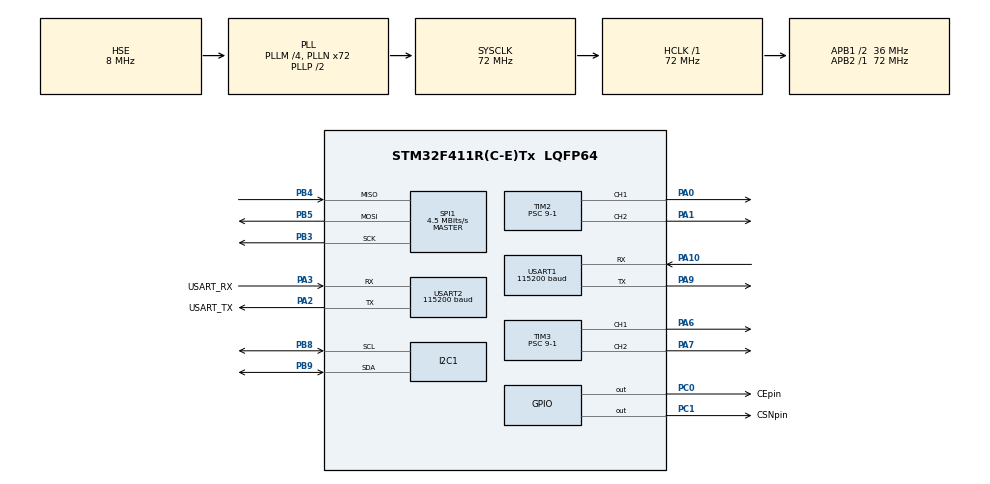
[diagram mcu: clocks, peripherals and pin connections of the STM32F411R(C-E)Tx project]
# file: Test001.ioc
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Dma.Request0=USART2_RX
Dma.Request1=USART2_TX
Dma.Request2=USART1_TX
Dma.USART1_TX.2.Direction=DMA_MEMORY_TO_PERIPH
Dma.USART1_TX.2.FIFOMode=DMA_FIFOMODE_DISABLE
Dma.USART1_TX.2.Instance=DMA2_Stream7
Dma.USART1_TX.2.MemDataAlignment=DMA_MDATAALIGN_BYTE
Dma.USART1_TX.2.MemInc=DMA_MINC_ENABLE
Dma.USART1_TX.2.Mode=DMA_NORMAL
Dma.USART1_TX.2.PeriphDataAlignment=DMA_PDATAALIGN_BYTE
Dma.USART1_TX.2.PeriphInc=DMA_PINC_DISABLE
Dma.USART1_TX.2.Priority=DMA_PRIORITY_LOW
Dma.USART2_RX.0.Direction=DMA_PERIPH_TO_MEMORY
Dma.USART2_RX.0.FIFOMode=DMA_FIFOMODE_DISABLE
Dma.USART2_RX.0.Instance=DMA1_Stream5
Dma.USART2_RX.0.MemDataAlignment=DMA_MDATAALIGN_BYTE
Dma.USART2_RX.0.MemInc=DMA_MINC_ENABLE
Dma.USART2_RX.0.Mode=DMA_CIRCULAR
Dma.USART2_RX.0.PeriphDataAlignment=DMA_PDATAALIGN_BYTE
Dma.USART2_RX.0.PeriphInc=DMA_PINC_DISABLE
Dma.USART2_RX.0.Priority=DMA_PRIORITY_LOW
Dma.USART2_TX.1.Direction=DMA_MEMORY_TO_PERIPH
Dma.USART2_TX.1.FIFOMode=DMA_FIFOMODE_DISABLE
Dma.USART2_TX.1.Instance=DMA1_Stream6
Dma.USART2_TX.1.MemDataAlignment=DMA_MDATAALIGN_BYTE
Dma.USART2_TX.1.MemInc=DMA_MINC_ENABLE
Dma.USART2_TX.1.Mode=DMA_NORMAL
Dma.USART2_TX.1.PeriphDataAlignment=DMA_PDATAALIGN_BYTE
Dma.USART2_TX.1.PeriphInc=DMA_PINC_DISABLE
Dma.USART2_TX.1.Priority=DMA_PRIORITY_LOW
I2C1.I2C_Mode=I2C_Fast
Mcu.Family=STM32F4
Mcu.Name=STM32F411R(C-E)Tx
Mcu.Package=LQFP64
NVIC.DMA1_Stream5_IRQn=true\:0\:0\:false\:false\:true\:false\:true
NVIC.DMA1_Stream6_IRQn=true\:0\:0\:false\:false\:true\:false\:true
NVIC.DMA2_Stream7_IRQn=true\:0\:0\:false\:false\:true\:false\:true
NVIC.I2C1_ER_IRQn=true\:0\:0\:false\:false\:true\:true\:true
NVIC.I2C1_EV_IRQn=true\:0\:0\:false\:false\:true\:true\:true
NVIC.PriorityGroup=NVIC_PRIORITYGROUP_0
NVIC.TIM2_IRQn=true\:0\:0\:false\:false\:true\:true\:true
NVIC.TIM3_IRQn=true\:0\:0\:false\:false\:true\:true\:true
NVIC.USART1_IRQn=true\:0\:0\:false\:false\:true\:true\:true
NVIC.USART2_IRQn=true\:0\:0\:false\:false\:true\:true\:true
PA0-WKUP.Signal=S_TIM2_CH1_ETR
PA1.Signal=S_TIM2_CH2
PA10.Mode=Asynchronous
PA10.Signal=USART1_RX
PA13.GPIO_Label=TMS
PA13.Mode=Serial_Wire
PA13.Signal=SYS_JTMS-SWDIO
PA14.GPIO_Label=TCK
PA14.Mode=Serial_Wire
PA14.Signal=SYS_JTCK-SWCLK
PA2.GPIO_Label=USART_TX
PA2.Mode=Asynchronous
PA2.Signal=USART2_TX
PA3.GPIO_Label=USART_RX
PA3.Mode=Asynchronous
PA3.Signal=USART2_RX
PA6.Signal=S_TIM3_CH1
PA7.Signal=S_TIM3_CH2
PA9.Mode=Asynchronous
PA9.Signal=USART1_TX
PB3.Mode=Full_Duplex_Master
PB3.Signal=SPI1_SCK
PB4.Mode=Full_Duplex_Master
PB4.Signal=SPI1_MISO
PB5.Mode=Full_Duplex_Master
PB5.Signal=SPI1_MOSI
PB8.Mode=I2C
PB8.Signal=I2C1_SCL
PB9.Mode=I2C
PB9.Signal=I2C1_SDA
PC0.GPIO_Label=CEpin
PC0.Signal=GPIO_Output
PC1.GPIO_Label=CSNpin
PC1.Signal=GPIO_Output
PH0\ -\ OSC_IN.Mode=HSE-External-Oscillator
PH0\ -\ OSC_IN.Signal=RCC_OSC_IN
PH1\ -\ OSC_OUT.Mode=HSE-External-Oscillator
PH1\ -\ OSC_OUT.Signal=RCC_OSC_OUT
ProjectManager.HeapSize=0x2000
ProjectManager.StackSize=0x4000
ProjectManager.TargetToolchain=EWARM V8.32
RCC.48MHZClocksFreq_Value=36000000
RCC.AHBFreq_Value=72000000
RCC.APB1CLKDivider=RCC_HCLK_DIV2
RCC.APB1Freq_Value=36000000
RCC.APB1TimFreq_Value=72000000
RCC.APB2Freq_Value=72000000
RCC.APB2TimFreq_Value=72000000
RCC.CortexFreq_Value=72000000
RCC.FLatency-AdvancedSettings=FLASH_LATENCY_2
RCC.HCLKFreq_Value=72000000
RCC.HSE_VALUE=8000000
RCC.HSI_VALUE=16000000
RCC.LSE_VALUE=32768
RCC.PLLM=4
RCC.PLLN=72
RCC.PLLSourceVirtual=RCC_PLLSOURCE_HSE
RCC.SYSCLKFreq_VALUE=72000000
RCC.SYSCLKSource=RCC_SYSCLKSOURCE_PLLCLK
RCC.VCOOutputFreq_Value=144000000
SH.S_TIM2_CH1_ETR.0=TIM2_CH1,PWM Generation1 CH1
SH.S_TIM2_CH2.0=TIM2_CH2,PWM Generation2 CH2
SH.S_TIM3_CH1.0=TIM3_CH1,PWM Generation1 CH1
SH.S_TIM3_CH2.0=TIM3_CH2,PWM Generation2 CH2
SPI1.BaudRatePrescaler=SPI_BAUDRATEPRESCALER_16
SPI1.CalculateBaudRate=4.5 MBits/s
SPI1.Direction=SPI_DIRECTION_2LINES
SPI1.Mode=SPI_MODE_MASTER
SPI1.VirtualType=VM_MASTER
TIM2.AutoReloadPreload=TIM_AUTORELOAD_PRELOAD_ENABLE
TIM2.Channel-PWM\ Generation1\ CH1=TIM_CHANNEL_1
TIM2.Channel-PWM\ Generation2\ CH2=TIM_CHANNEL_2
TIM2.Period=16000-1
TIM2.Prescaler=9-1
TIM3.AutoReloadPreload=TIM_AUTORELOAD_PRELOAD_ENABLE
TIM3.Channel-PWM\ Generation1\ CH1=TIM_CHANNEL_1
TIM3.Channel-PWM\ Generation2\ CH2=TIM_CHANNEL_2
TIM3.Period=16000-1
TIM3.Prescaler=9-1
USART1.BaudRate=115200
USART1.VirtualMode=VM_ASYNC
USART2.BaudRate=115200
USART2.VirtualMode=VM_ASYNC
VP_TIM2_VS_ClockSourceINT.Mode=Internal
VP_TIM3_VS_ClockSourceINT.Mode=Internal
board=NUCLEO-F411RE

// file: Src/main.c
/* USER CODE BEGIN Header */
/**
  ******************************************************************************
  * @file           : main.c
  * @brief          : Main program body
  ******************************************************************************
  * @attention
  *
  * <h2><center>&copy; Copyright (c) 2020 STMicroelectronics.
  * All rights reserved.</center></h2>
  *
  * This software component is licensed by ST under BSD 3-Clause license,
  * the "License"; You may not use this file except in compliance with the
  * License. You may obtain a copy of the License at:
  *                        opensource.org/licenses/BSD-3-Clause
  *
  ******************************************************************************
  */
/* USER CODE END Header */

#include "main.h"

/* USER CODE BEGIN Includes */
#include <string.h>
#include <stdio.h>
#include <math.h>
#include <stdlib.h>

//#include "fuzzy.h"
#include "stm32f4xx_hal.h"
//#include "tm_stm32_mpu9250.h"
//#include "Quaternion.h"
#include "pid.h"
//#include "PWM.h"
//#include "LPF.h"
#include "STM32F4_FLASH_MEMORY.h"
#include "nRF24_Receive.h"
#include "tm_stm32_nrf24l01.h"
#include "tm_stm32_delay.h"

/* USER CODE END Includes */

/* USER CODE BEGIN PD */
#define PI                      (3.141592f)             //the ratio of the circumference of a circle to its diameter.
#define dt                      (2.0f)                  //Least dt milliseconds (>1/dt mHz)Update term (milliseconds).
#define init_angle_average      (40)                    //Initiate_Setting_angle.
/* USER CODE END PD */

I2C_HandleTypeDef hi2c1;

SPI_HandleTypeDef hspi1;

TIM_HandleTypeDef htim2;
TIM_HandleTypeDef htim3;

UART_HandleTypeDef huart1;
UART_HandleTypeDef huart2;
DMA_HandleTypeDef hdma_usart1_tx;
DMA_HandleTypeDef hdma_usart2_rx;
DMA_HandleTypeDef hdma_usart2_tx;

void SystemClock_Config(void);
static void MX_GPIO_Init(void);
static void MX_DMA_Init(void);
static void MX_I2C1_Init(void);
static void MX_TIM3_Init(void);
static void MX_USART2_UART_Init(void);
static void MX_TIM2_Init(void);
static void MX_USART1_UART_Init(void);
static void MX_SPI1_Init(void);

/* USER CODE BEGIN 0 */
//========================GLOBAL VARIABLES=========================
//=================================================================
//======================UART variables=============================
//uint8_t uart1_tx_to_MFC[100];                             //Trandmit variable.
//uint8_t uart1_tx_to_MFC2[100];                           //Trandmit variable.
//uint8_t uart2_tx_data2[255];
//uint8_t uart2_tx_data[255];
//
//uint8_t pid_buffer[71];
//int num = 0;
uint8_t data;
//=======================INIT Variables=============================
//=======================MPU9250 variables==========================
//==================================================================
//========================nRF24L01 GLOBAL VARIABLES==============================
uint8_t TxAddress[] = {                                 // Controller �� ������ ���� �ּ�
  0xE7,
  0xE7,
  0xE7,
  0xE7,
  0xE7
};
uint8_t MyAddress[] = {                                 // Controller ���� ������ ���� �ּ�
  0x7E,
  0x7E,
  0x7E,
  0x7E,
  0x7E
};

//int value=0;                                            // ��Ʈ�ѷ����� ���� key_input �� ���� ����

//========================================================================

//==================printf FUNCTION====================
int fputc(int ch ,FILE *f)
{
 HAL_UART_Transmit(&huart2,(uint8_t*)&ch,1,0xFFFF);
 return ch;
}
//=====================================================

/* USER CODE END 0 */

int main(void)
{
  /* USER CODE BEGIN 1 */
  //=======================INIT Variables=============================
  TM_MPU9250_t    MPU9250;                                //MPU9250 Sensor structure.
  __PID           pid;                                    //PID Controll structure.
  //=====================Flag and Time flag=================================
  uint32_t Now = 0;                                       //Used to calculate integration interval.
  uint32_t lastUpdate = 0;                                //Used to calculate integration interval.
  uint32_t before_while = 0;                              //Time of Before entering while loop.
  uint16_t wait = 0;                                      //getting initiate setting_angle waiting time(3secs)
  uint8_t wait_flag = 0;                                  //Time waiting flag.
  uint8_t Mcal_flag = 0;                                  //User Magnetic bias flag.

  uint32_t UART_Now = 0;
  uint32_t UART_Pre = 0;
  uint32_t UART_deltat = 0;

  uint8_t UART_flag=0;
  uint8_t UART_sytic_flag=0;

  //float dt2 = 0.0f;                                       //�ӽ� �׽�Ʈ��.
  //=========================UART Variables===============================
  //====================Quaternion VARIABLES===============================
  float deltat = 0.0f;                                    //integration interval for filter schemes.
  float q[4] = {1.0f, 0.0f, 0.0f, 0.0f};                  // vector to hold quaternion.
  //====================Fuzzy Variables====================================
  //float prev_err[3];                                      //Prev_Setting_point - Euler_angle.
  //========================================================================
  int Controller_1 = 30;                                  //Moter Throttle.(40�̸� ���?)
  //int Controller_2 = 0;                                   //Moter Throttle.
  //===================hanging Variables from external controll====================
  float setting_angle[3] = {0.0f, 0.0f, 0.0f};            //roll pitch yaw.
  //float init_setting_angle[3] = {0.0f, 0.0f, 0.0f};
  float pid_val[3][3] = {{4.0f, 0.00f, 0.0f}, {3.5f, 0.00f, 0.0f}, {3.5f, 0.00f, 0.0f}};       //P I D gain controll (Roll PID, Pitch PID, Yaw PID sequences).
  float inpid_val[3][3] = {{3.0f, 1.5f, 0.5f}, {2.0f, 1.1f, 0.66f}, {2.0f, 1.1f, 0.66f}};        //P I D gain controll (Roll PID, Pitch PID, Yaw PID sequences).
  //float angular_velocity[3];                              //For double loop PID.
  //====================Quaternion VARIABLES===============================
  float Euler_angle[3] = {0.0f, 0.0f, 0.0f};              //roll pitch yaw.
//  float preEuler_angle[3] = {0.0f, 0.0f, 0.0f};           //Used in LPF.
//  float LPF_Euler_angle[3] = {0.0f, 0.0f, 0.0f};           //Used in LPF.
//  //===========================MPU9250 Variables=============================
//  float Self_Test[6] = {0.0f, 0.0f, 0.0f, 0.0f, 0.0f, 0.0f}; //MPU9250 Accell and Gyro Self_Test.
//  float Self_Test_Mag[3] = {0.0f, 0.0f, 0.0f}; //MPU9250 Magnetometer Self_Test.
  //========================nRF24L01 VARIABLES==============================
  int temp_int;                                           // uint8_t ������ �޴� data int������ ��ȯ, Throttle ��
  float temp;                                             // uint8_t ������ �޴� data flaot������ ��ȯ, PID ��

  /* USER CODE END 1 */

  /* MCU Configuration--------------------------------------------------------*/

  /* Reset of all peripherals, Initializes the Flash interface and the Systick. */
  HAL_Init();

  /* USER CODE BEGIN Init */
//  __INIT__MPU9250(&MPU9250);
//  MPU9250SelfTest(&MPU9250, &Self_Test[0],TM_MPU9250_Device_0);
//  if (0){
//  calibrateMPU9250(&MPU9250);
//  }
//  TM_MPU9250_Init(&MPU9250, TM_MPU9250_Device_0);
//  TM_MPU9250_ReadMagASA(&MPU9250);      //Get MPU9250 Magnetic ASA data.
//  AK8963SelfTest(&MPU9250, &Self_Test_Mag[0]);
//
//  pid_init(&pid, pid_val, inpid_val);
  //fuzzy_init();

  /* USER CODE END Init */

  /* Configure the system clock */
  SystemClock_Config();

  /* Initialize all configured peripherals */
  MX_GPIO_Init();
  MX_DMA_Init();
  MX_I2C1_Init();
  MX_TIM3_Init();
  MX_USART2_UART_Init();
  MX_TIM2_Init();
  MX_USART1_UART_Init();
  MX_SPI1_Init();
  /* USER CODE BEGIN 2 */
  //=========Automatic calculation of Magnetic filed bias=======
//  if (Mcal_flag == 1)
//  {
//    MagCalibration(&MPU9250);
//    Mcal_flag ++;
//  }
//  //======Automatic calculation of Magnetic filed bias END======
//  //================PWM START===================================
//  if (1)
//  {
//    HAL_TIM_PWM_Start(&htim2, TIM_CHANNEL_1);
//    HAL_TIM_PWM_Start(&htim2, TIM_CHANNEL_2);
//    HAL_TIM_PWM_Start(&htim3, TIM_CHANNEL_1);
//    HAL_TIM_PWM_Start(&htim3, TIM_CHANNEL_2);
//  }
//
//  //  ESC_Calibration();
//    Motor_Init();
//  //  Motor_Start();
//
//  //*********************************************
//    __HAL_UART_ENABLE_IT(&huart1, UART_IT_RXNE);          //���ͷ��� Ȱ��ȭ.
//    memset(pid_buffer,'\0',sizeof(pid_buffer));           //���ۺ���
  //********************************************

  TM_NRF24L01_Init(35,8);
  TM_NRF24L01_SetRF(TM_NRF24L01_DataRate_250k, TM_NRF24L01_OutputPower_0dBm);
  TM_NRF24L01_SetMyAddress(MyAddress);
  TM_NRF24L01_SetTxAddress(TxAddress);
  //====================Get Biases From Flash Memory==========================
//  if(1){
//    Get_biases(&MPU9250);
//  }
//  //===================Get Biases From Flash Memory END=======================
//  before_while = HAL_GetTick(); //Get time of before while loop.
//  lastUpdate = before_while;    //First time of lastUpdate using for gain the deltat.

  //HAL_UART_Transmit_DMA(&huart2,uart2_tx_data2 ,sizeof(uart2_tx_data2));
  /* USER CODE END 2 */

  /* Infinite loop */
  /* USER CODE BEGIN WHILE */
  while (1)
  {
//    int aa = HAL_GetTick();     //Get time for
//
//    HAL_UART_Receive_IT(&huart1, &data, 1);             //PID PPID ���� ��.
//  //========================Get MPU9250 data===========================
//    TM_MPU9250_ReadAcce(&MPU9250);      //get Accel data.
//    TM_MPU9250_ReadGyro(&MPU9250);      //get Gyro data.
//    TM_MPU9250_ReadMag(&MPU9250);       //get Magnetic data.
//  //======================Get MPU9250 data END===========================
//  //=========Subtract Automatic Accelometer Gyroscope and Magnetic filed bias========
//
//     MPU9250.Ax -= MPU9250.Accbiasx;             //callibration values.
//     MPU9250.Ay -= MPU9250.Accbiasy;
//     MPU9250.Az -= MPU9250.Accbiasz;
//
//     MPU9250.Gx -= MPU9250.Gybiasx;              //callibration values.
//     MPU9250.Gy -= MPU9250.Gybiasy;
//     MPU9250.Gz -= MPU9250.Gybiasz;
//
//     MPU9250.Mx -= MPU9250.Magbiasx;             //callibration values.
//     MPU9250.My -= MPU9250.Magbiasy;
//     MPU9250.Mz -= MPU9250.Magbiasz;
//
//    //MPU9250.Mx -= 67.5f;                //callibration values.
//    //MPU9250.My -= 60.0f;
//    //MPU9250.Mz -= 21.5f;
//
//    //MPU9250.Mx -= 21.0f;                  //callibration values.(SH's)
//    //MPU9250.My -= 18.5f;
//    //MPU9250.Mz -= -19.0f;
//
////    MPU9250.Mx -= 28.0f;                  //callibration values.(SH's)
////    MPU9250.My -= 3.5f;
////    MPU9250.Mz -= 20.0f;
//  //=======Subtract Automatic Accelometer Gyroscope and Magnetic filed bias END=======
//  //==================Init settiing angle=====================
//    if (wait_flag < init_angle_average)
//    {
//      wait = HAL_GetTick() - before_while;
//      if (wait >= 3500)
//      {
//        init_setting_angle[0] += Euler_angle[0];         //roll
//        init_setting_angle[1] += Euler_angle[1];         //pitch
//        init_setting_angle[2] += Euler_angle[2];         //yaw
//        wait_flag ++;
//      }
//    }
//    if (wait_flag == init_angle_average)
//    {
////      setting_angle[0] = init_setting_angle[0] / init_angle_average;    //init roll
////      setting_angle[1] = init_setting_angle[1] / init_angle_average;    //init pitch
////      setting_angle[2] = init_setting_angle[2] / init_angle_average;    //init yaw
//      wait_flag ++;
//    }
//  //================Init settiing angle END====================
//   //====================Get delta T =======================
//    Now = HAL_GetTick();                //Get current time.
//    deltat += (Now - lastUpdate);       //Set integration time by time elapsed since last filter update (milliseconds).
//    lastUpdate = Now;                   //Update lastupdate time to current time.
//  //==================Get delta T END======================
//    //sprintf((char*)uart2_tx_data2,"%10.5f\r\n",deltat);
//    //HAL_UART_Transmit(&huart2,uart2_tx_data2 ,sizeof(uart2_tx_data2), 10);
//  //====================================================
////    angular_velocity[0] = MPU9250.Gx / 1000.0f * deltat;           //angular velocity (degree/2ms)
////    angular_velocity[1] = MPU9250.Gy / 1000.0f * deltat;
////    angular_velocity[2] = MPU9250.Gz / 1000.0f * deltat;
//
//    angular_velocity[0] = MPU9250.Gx / 1000.0f * dt;           //angular velocity (degree/2ms)
//    angular_velocity[1] = MPU9250.Gy / 1000.0f * dt;
//    angular_velocity[2] = MPU9250.Gz / 1000.0f * dt;
//
//    if (deltat >= dt)                           //Update term.(500Hz.dt=2)
//    {
//      deltat /= 1000.0f;                        //Make millisecond to second.
//      //dt2 = deltat;
//      MahonyQuaternionUpdate(MPU9250.Ax, MPU9250.Ay, MPU9250.Az, MPU9250.Gx*PI/180.0f, MPU9250.Gy*PI/180.0f, MPU9250.Gz*PI/180.0f, MPU9250.My, MPU9250.Mx, -MPU9250.Mz, q, deltat);
//      Quternion2Euler(q, Euler_angle); //Get Euler angles (roll, pitch, yaw) from Quaternions.
//      __LPF(LPF_Euler_angle, Euler_angle, preEuler_angle, deltat);
//      //=========================Fuzzy part============================
////      Fuzzification(setting_angle[0], Euler_angle[0], &prev_err[0]);                  //roll
////      Create_Fuzzy_Matrix();
////      Defuzzification(&pid_val[0][0],&pid_val[0][1],&pid_val[0][2]);                  //Fuzzy roll end.
////
////      Fuzzification(setting_angle[1], Euler_angle[1], &prev_err[1]);                  //pitch
////      Create_Fuzzy_Matrix();
////      Defuzzification(&pid_val[1][0],&pid_val[1][1],&pid_val[1][2]);                  //Fuzzy pitch end.
////
////      Fuzzification(setting_angle[2], Euler_angle[2], &prev_err[2]);                  //yaw
////      Create_Fuzzy_Matrix();
////      Defuzzification(&pid_val[2][0],&pid_val[2][1],&pid_val[2][2]);                  //Fuzzy yaw end.
////      pid_gain_update(&pid, pid_val, inpid_val);                                      //From Fuzzy the PID gain value is changed.
//      //=======================Fuzzy part END============================
//      if (HAL_GetTick() - before_while >= 5000)
//      {
//        __pid_update(&pid, setting_angle, LPF_Euler_angle, angular_velocity, deltat);         //PID value update.
//      }
//      //Euler_angle[2] -= 8.2f;                                  // Declination at Seoul korea on 2020-02-04(yaw bias)
//      //if(Euler_angle[2] < 0) Euler_angle[2]   += 360.0f;       // Ensure yaw stays between 0 and 360
//
//      deltat = 0.0f;                                             //reset deltat.
//    }
//    //TM_MPU9250_DataReady(&MPU9250);                            //?????
////=====================Data print transmit UART part===============
//    //sprintf((char*)uart2_tx_data2,"%10.4f %10.4f %10.4f %10.4f %10.4f %10.4f %10.4f %10.4f %10.4f \r\n",  \
//      MPU9250.Ax, MPU9250.Ay ,MPU9250.Az, MPU9250.Gx, MPU9250.Gy, MPU9250.Gz, MPU9250.Mx, MPU9250.My, MPU9250.Mz);
//    //sprintf((char*)uart2_tx_data2,"%10.4f %10.4f %10.4f \r\n", MPU9250.Mx, MPU9250.My ,MPU9250.Mz);
//    //sprintf((char*)uart2_tx_data2,"%d  %d  %d\r\n", (int)MPU9250.Mx_Raw, (int)MPU9250.My_Raw , (int)MPU9250.Mz_Raw);
//    //sprintf((char*)uart2_tx_data2,"%f  %f  %f  %f  %f  %f\r\n", Self_Test[0], Self_Test[1], Self_Test[2], Self_Test[3], Self_Test[4], Self_Test[5]);
//    //sprintf((char*)uart2_tx_data2,"%f  %f  %f\r\n", Self_Test_Mag[0], Self_Test_Mag[1], Self_Test_Mag[2]);
//    //sprintf((char*)uart2_tx_data2,"%f  %f  %f  %f  %f  %f  %f  %f  %f\r\n", MPU9250.Accbiasx, MPU9250.Accbiasy, MPU9250.Accbiasz, MPU9250.Gybiasx, MPU9250.Gybiasy, MPU9250.Gybiasz, MPU9250.Magbiasx, MPU9250.Magbiasy, MPU9250.Magbiasz);
//    //sprintf((char*)uart2_tx_data2,"%f  %f  %f  %f  %f  %f\r\n", MPU9250.Magbiasx, MPU9250.Magbiasy, MPU9250.Magbiasz, MPU9250.Magscalex, MPU9250.Magscaley, MPU9250.Magscalez);
//    //sprintf((char*)uart2_tx_data2,"%d  %d  %d\r\n", MPU9250.Mx_Raw, MPU9250.My_Raw, MPU9250.Mz_Raw);
//
//
//    //sprintf((char*)uart2_tx_data2,"%d\r\n", data32);
//    //sprintf((char*)uart2_tx_data2," ASAx = %.2f \t ASAy = %.2f \t ASAz = %.2f\r\n",MPU9250.ASAX, MPU9250.ASAY, MPU9250.ASAZ);
//    //sprintf((char*)uart2_tx_data2,"%10.4f %10.4f %10.4f %10.4f\r\n", q[0], q[1], q[2], q[3]);
//
//    //sprintf((char*)uart2_tx_data2,"%10.4f  %10.4f  %10.4f  %10.4f  %10.4f  %10.4f  %10.4f  %10.4f  %10.4f\r\n", pid_val[0][0],pid_val[0][1],pid_val[0][2],pid_val[1][0],pid_val[1][1],pid_val[1][2],pid_val[2][0],pid_val[2][1],pid_val[2][2]);
//    //sprintf((char*)uart2_tx_data2,"%10.4f  %10.4f  %10.4f  %10.4f  %10.4f  %10.4f  %10.4f  %10.4f  %10.4f\r\n", pid.Kp[0],pid.Ki[0],pid.Kd[0],pid.Kp[1],pid.Ki[1],pid.Kd[1],pid.Kp[2],pid.Ki[2],pid.Kd[2]);
//
//    //sprintf((char*)uart2_tx_data2,"%10.2f  %10.2f  %10.2f  %10.2f  %10.2f  %10.2f\r\n",  Euler_angle[0], Euler_angle[1], Euler_angle[2], LPF_Euler_angle[0], LPF_Euler_angle[1], LPF_Euler_angle[2]);
//    //sprintf((char*)uart2_tx_data2,"%10.2f  %10.2f  %10.2f  %10.2f  %10.2f  %10.2f\r\n",  Euler_angle[0], Euler_angle[1], Euler_angle[2], Magbias[0], Magbias[1], Magbias[2]);
//
//    //sprintf((char*)uart2_tx_data2,"%10.2f  %10.2f  %10.2f  %10.2f  %10.2f  %10.2f  %10.2f  %10.2f  %10.2f\r\n",  Euler_angle[0], Euler_angle[1], Euler_angle[2], setting_angle[0], setting_angle[1], setting_angle[2], pid.output[0],pid.output[1], pid.output[2]);
//    sprintf((char*)uart2_tx_data2,"%10.2f  %10.2f  %10.2f  %10.2f  %10.2f  %10.2f  %10.2f  %10.2f  %10.2f\r\n",  LPF_Euler_angle[0], LPF_Euler_angle[1], LPF_Euler_angle[2], setting_angle[0], setting_angle[1], setting_angle[2], pid.output[0],pid.output[1], pid.output[2]);
//
//
//    //sprintf((char*)uart2_tx_data2,"%10.2f  %10.2f  %10.2f  %10.2f  %10.2f  %10.2f  %10.2f  %10.2f  %10.2f\r\n",  LPF_Euler_angle[0], LPF_Euler_angle[1], LPF_Euler_angle[2], setting_angle[0], setting_angle[1], setting_angle[2], pid.output[0],pid.output[1], pid.output[2]);
//    //sprintf((char*)uart2_tx_data2,"%10.2f  %10.2f  %10.2f  %10.2f  %10.2f  %10.2f\r\n", setting_angle[0], setting_angle[1], setting_angle[2], pid.output[0],pid.output[1], pid.output[2]);
//
//
//    //sprintf((char*)uart2_tx_data2,"%4d  %4d  %4d\r\n", (int)LPF_Euler_angle[0], (int)LPF_Euler_angle[1], (int)LPF_Euler_angle[2]);
//
//    //sprintf((char*)uart2_tx_data3,"%10.2f  %10.2f  %10.2f  %10.2f  %10.2f  %10.2f\r\n",  Euler_angle[0], Euler_angle[1], Euler_angle[2], q[1], q[2], q[3]);
//    //sprintf((char*)uart2_tx_data2,"%10.5f  %10.5f  %10.5f\r\n",  angular_velocity[0], angular_velocity[1], angular_velocity[2]);
//
//    //sprintf((char*)uart2_tx_data2,"%10.5f\r\n",dt2);
//
//    //HAL_UART_Transmit(&huart2,uart2_tx_data2 ,sizeof(uart2_tx_data2), 10);
// //====================Data print transmit UART part END===================
//
// //======================BLDC Motor Part===================================
//
//    if(HAL_GetTick() - before_while >= 5000 && HAL_GetTick() - before_while < 6000)
//    {
//       Motor_Start();
//    }
//
//   if (HAL_GetTick() - before_while >= 6000 && HAL_GetTick() - before_while <= 400000)
//   {
//
//     if (Controller_1 <= 5)
//         {
//           MOTOR_V1 = MIN_PULSE;
//           MOTOR_V2 = MIN_PULSE;
//           MOTOR_V3 = MIN_PULSE;
//           MOTOR_V4 = MIN_PULSE;
//         }
//
//      if (Controller_1 > 5)    //Controller_1�� ��ȣ�� �ְ� �ְ�, Controller_2�� ���̽�ƽ�� ��� ��ġ�� �� (������ �����Ҷ�)
//       {
//         if (fabs(LPF_Euler_angle[0]) <= 15.0f && fabs(LPF_Euler_angle[1]) <= 15.0f)    //Restrict yaw acting Euler angle.
//         {
//           pid.output[2] = 0.0f;
//         }
//         MOTOR_V1 = MIN_PULSE + (Controller_1 * 70) + (int)(MoterGain_roll * pid.output[0]);// - (int)(MoterGain_pitch * pid.output[1]);
//         if (MOTOR_V1 >= MAX_PULSE - MOTER_SAFTY)
//           MOTOR_V1 = MAX_PULSE -  MOTER_SAFTY;
//         else if (MOTOR_V1 <= MIN_PULSE + 700)
//           MOTOR_V1 = MIN_PULSE + 700;
//
//         MOTOR_V2 = MIN_PULSE + (Controller_1 * 70) - (int)((MoterGain_roll)  * pid.output[0]);// - (int)((MoterGain_pitch) * pid.output[1]);
//         if (MOTOR_V2 >= MAX_PULSE - MOTER_SAFTY)
//           MOTOR_V2 = MAX_PULSE - MOTER_SAFTY;
//         else if (MOTOR_V2 <= MIN_PULSE + 700)
//           MOTOR_V2 = MIN_PULSE + 700;
//
//         MOTOR_V3 = MIN_PULSE + (Controller_1 * 70) + (int)(MoterGain_roll * pid.output[0]);// + (int)(MoterGain_pitch * pid.output[1]);
//         if (MOTOR_V3 >= MAX_PULSE - MOTER_SAFTY)
//           MOTOR_V3 = MAX_PULSE - MOTER_SAFTY;
//         else if (MOTOR_V3 <= MIN_PULSE + 700)
//           MOTOR_V3 = MIN_PULSE + 700;
//
//         MOTOR_V4 = MIN_PULSE + (Controller_1 * 70) - (int)((MoterGain_roll) * pid.output[0]);// + (int)((MoterGain_pitch) * pid.output[1]);
//         if (MOTOR_V4 >= MAX_PULSE - MOTER_SAFTY)
//           MOTOR_V4 = MAX_PULSE - MOTER_SAFTY;
//         else if (MOTOR_V4 <= MIN_PULSE + 700)
//           MOTOR_V4 = MIN_PULSE + 700;
//       }
//    }
//
//    Motor_Stop(400000, before_while);

    //sprintf((char*)uart2_tx_data2,"%10d  %10d  %10d  %10d\r\n",  MOTOR_V1, MOTOR_V2, MOTOR_V3, MOTOR_V4);
    //HAL_UART_Transmit(&huart2,uart2_tx_data2 ,sizeof(uart2_tx_data2), 10);

//======================BLDC Motor Part END==================================

//======================NRF24L01 Receive Part=================================
  NRF24_Receive(&Controller_1,temp,temp_int,&pid,setting_angle);
//=====================NRF24L01 Receive Part END==============================

//========================Data transmit part===================================
//    if(UART_flag ==0)
//    {
//      //sprintf((char*)uart1_tx_to_MFC,"%.2f,%.2f,%.2f", Euler_angle[0], Euler_angle[1], Euler_angle[2]);
//      //sprintf((char*)uart1_tx_to_MFC,"%.2f,%.2f,%.2f", LPF_Euler_angle[0], LPF_Euler_angle[1], LPF_Euler_angle[2]);
//      sprintf((char*)uart1_tx_to_MFC,"%d,%d,%d", (int)LPF_Euler_angle[0], (int)LPF_Euler_angle[1], (int)LPF_Euler_angle[2]);
//
//      //HAL_UART_Transmit(&huart1,uart1_tx_to_MFC ,sizeof(uart1_tx_to_MFC),5);
//      //HAL_Delay(3);
//      //HAL_UART_Transmit(&huart2,uart2_tx_data2 ,sizeof(uart2_tx_data2), 5);
//
//      // UART_deltat = 0;
//    }
////*********************************************************************************
//
//    if(num>=70)
//    {
//      UART_flag=1;
//      if(UART_sytic_flag ==0)
//      {
//        UART_Pre = HAL_GetTick();
//        UART_sytic_flag=1;
//
//      }
//      UART_Now = HAL_GetTick();               //Get current time.
//      UART_deltat += (UART_Now - UART_Pre);       //Set integration time by time elapsed since last filter update (milliseconds).
//      UART_Pre = UART_Now;
//      //UART_lastUpdate = UART_Now;                   //Update lastupdate time to current time.
//      if (UART_deltat >= 10)
//      {
//          //HAL_UART_Transmit(&huart2,pid_buffer,sizeof(pid_buffer), 10); //����׽��?��.
//          if (strstr((char*)pid_buffer,"B") != NULL)               //Outer PID.
//          {
//            Parsing_PID_val(pid_buffer, pid_val);
//            sprintf((char*)uart1_tx_to_MFC2,"PPP%6.3fPPI%6.3fPPD%6.3fPRRP%6.3fRRI%6.3fRRD%6.3fRYYP%6.3fYYI%6.3fYYD%6.3fY\r\n", pid_val[1][0], pid_val[1][1], pid_val[1][2], pid_val[0][0], pid_val[0][1], pid_val[0][2], pid_val[2][0], pid_val[2][1], pid_val[2][2]);
//            pid_gain_update(&pid, pid_val, inpid_val);
//            //HAL_UART_Transmit(&huart1,uart1_tx_to_MFC2,sizeof(uart1_tx_to_MFC2), 10);
//            //HAL_UART_Transmit(&huart2,uart1_tx_to_MFC2,sizeof(uart1_tx_to_MFC2), 10);
//            memset(pid_buffer,'\0',sizeof(pid_buffer));
//            memset(uart1_tx_to_MFC2,'\0',sizeof(uart1_tx_to_MFC2));
//            num = 0;
//          }
//          else if (strstr((char*)pid_buffer,"A") != NULL)          //Inner PID.
//          {
//            Parsing_inPID_val(pid_buffer, inpid_val);
//            sprintf((char*)uart1_tx_to_MFC2,"PP%6.3fPI%6.3fPD%6.3fPRP%6.3fRI%6.3fRD%6.3fRYP%6.3fYI%6.3fYD%6.3fY\r\n", inpid_val[1][0], inpid_val[1][1], inpid_val[1][2], inpid_val[0][0], inpid_val[0][1], inpid_val[0][2], inpid_val[2][0], inpid_val[2][1], inpid_val[2][2]);
//            pid_gain_update(&pid, pid_val, inpid_val);
//            //HAL_UART_Transmit(&huart1,uart1_tx_to_MFC2,sizeof(uart1_tx_to_MFC2), 10);
//            //HAL_UART_Transmit(&huart2,uart1_tx_to_MFC2,sizeof(uart1_tx_to_MFC2), 10);
//            memset(pid_buffer,'\0',sizeof(pid_buffer));
//            memset(uart1_tx_to_MFC2,'\0',sizeof(uart1_tx_to_MFC2));
//            num = 0;
//          }
//          else if (strstr((char*)pid_buffer,"C") != NULL)          //Throttle.
//          {
//            Parsing_Throttle_val(pid_buffer, &Controller_1);
//            sprintf((char*)uart1_tx_to_MFC2,"T%6.3f\r\n", (float)Controller_1);
//            //HAL_UART_Transmit(&huart1,uart1_tx_to_MFC2,sizeof(uart1_tx_to_MFC2), 10);
//            //HAL_UART_Transmit(&huart2,uart1_tx_to_MFC2,sizeof(uart1_tx_to_MFC2), 10);
//            memset(pid_buffer,'\0',sizeof(pid_buffer));
//            memset(uart1_tx_to_MFC2,'\0',sizeof(uart1_tx_to_MFC2));
//            num = 0;
//          }
//          else if (strstr((char*)pid_buffer,"D") != NULL)          //Setting Point.
//          {
//            Parsing_SettingPoint_val(pid_buffer, setting_angle);
//            sprintf((char*)uart1_tx_to_MFC2,"S%6.3fP%6.3fR%6.3fY\r\n", setting_angle[0], setting_angle[1], setting_angle[2]);
//            //HAL_UART_Transmit(&huart1,uart1_tx_to_MFC2,sizeof(uart1_tx_to_MFC2), 10);
//            //HAL_UART_Transmit(&huart2,uart1_tx_to_MFC2,sizeof(uart1_tx_to_MFC2), 10);
//            memset(pid_buffer,'\0',sizeof(pid_buffer));
//            memset(uart1_tx_to_MFC2,'\0',sizeof(uart1_tx_to_MFC2));
//            num = 0;
//           }
//      UART_flag=0;
//      UART_sytic_flag=0;
//      UART_deltat = 0;
//      }
//    }
////========================Data transmit part END=============================
//
////=====================TIme Check==========================
//    int bb = HAL_GetTick();
    //sprintf((char*)uart2_tx_data,"%d  %d\r\n",  aa, bb);
    //HAL_UART_Transmit(&huart2,uart2_tx_data ,sizeof(uart2_tx_data), 3);
//=====================TIme Check END======================
    /* USER CODE END WHILE */

  }
}

void SystemClock_Config(void)
{
  RCC_OscInitTypeDef RCC_OscInitStruct = {0};
  RCC_ClkInitTypeDef RCC_ClkInitStruct = {0};

  /** Configure the main internal regulator output voltage
  */
  __HAL_RCC_PWR_CLK_ENABLE();
  __HAL_PWR_VOLTAGESCALING_CONFIG(PWR_REGULATOR_VOLTAGE_SCALE1);
  /** Initializes the CPU, AHB and APB busses clocks
  */
  RCC_OscInitStruct.OscillatorType = RCC_OSCILLATORTYPE_HSE;
  RCC_OscInitStruct.HSEState = RCC_HSE_ON;
  RCC_OscInitStruct.PLL.PLLState = RCC_PLL_ON;
  RCC_OscInitStruct.PLL.PLLSource = RCC_PLLSOURCE_HSE;
  RCC_OscInitStruct.PLL.PLLM = 4;
  RCC_OscInitStruct.PLL.PLLN = 72;
  RCC_OscInitStruct.PLL.PLLP = RCC_PLLP_DIV2;
  RCC_OscInitStruct.PLL.PLLQ = 4;
  if (HAL_RCC_OscConfig(&RCC_OscInitStruct) != HAL_OK)
  {
    Error_Handler();
  }
  /** Initializes the CPU, AHB and APB busses clocks
  */
  RCC_ClkInitStruct.ClockType = RCC_CLOCKTYPE_HCLK|RCC_CLOCKTYPE_SYSCLK
                              |RCC_CLOCKTYPE_PCLK1|RCC_CLOCKTYPE_PCLK2;
  RCC_ClkInitStruct.SYSCLKSource = RCC_SYSCLKSOURCE_PLLCLK;
  RCC_ClkInitStruct.AHBCLKDivider = RCC_SYSCLK_DIV1;
  RCC_ClkInitStruct.APB1CLKDivider = RCC_HCLK_DIV2;
  RCC_ClkInitStruct.APB2CLKDivider = RCC_HCLK_DIV1;

  if (HAL_RCC_ClockConfig(&RCC_ClkInitStruct, FLASH_LATENCY_2) != HAL_OK)
  {
    Error_Handler();
  }
}

static void MX_I2C1_Init(void)
{

  hi2c1.Instance = I2C1;
  hi2c1.Init.ClockSpeed = 400000;
  hi2c1.Init.DutyCycle = I2C_DUTYCYCLE_2;
  hi2c1.Init.OwnAddress1 = 0;
  hi2c1.Init.AddressingMode = I2C_ADDRESSINGMODE_7BIT;
  hi2c1.Init.DualAddressMode = I2C_DUALADDRESS_DISABLE;
  hi2c1.Init.OwnAddress2 = 0;
  hi2c1.Init.GeneralCallMode = I2C_GENERALCALL_DISABLE;
  hi2c1.Init.NoStretchMode = I2C_NOSTRETCH_DISABLE;
  if (HAL_I2C_Init(&hi2c1) != HAL_OK)
  {
    Error_Handler();
  }

}

static void MX_SPI1_Init(void)
{

  /* SPI1 parameter configuration*/
  hspi1.Instance = SPI1;
  hspi1.Init.Mode = SPI_MODE_MASTER;
  hspi1.Init.Direction = SPI_DIRECTION_2LINES;
  hspi1.Init.DataSize = SPI_DATASIZE_8BIT;
  hspi1.Init.CLKPolarity = SPI_POLARITY_LOW;
  hspi1.Init.CLKPhase = SPI_PHASE_1EDGE;
  hspi1.Init.NSS = SPI_NSS_SOFT;
  hspi1.Init.BaudRatePrescaler = SPI_BAUDRATEPRESCALER_16;
  hspi1.Init.FirstBit = SPI_FIRSTBIT_MSB;
  hspi1.Init.TIMode = SPI_TIMODE_DISABLE;
  hspi1.Init.CRCCalculation = SPI_CRCCALCULATION_DISABLE;
  hspi1.Init.CRCPolynomial = 10;
  if (HAL_SPI_Init(&hspi1) != HAL_OK)
  {
    Error_Handler();
  }

}

static void MX_TIM2_Init(void)
{

  TIM_ClockConfigTypeDef sClockSourceConfig = {0};
  TIM_MasterConfigTypeDef sMasterConfig = {0};
  TIM_OC_InitTypeDef sConfigOC = {0};

  htim2.Instance = TIM2;
  htim2.Init.Prescaler = 9-1;
  htim2.Init.CounterMode = TIM_COUNTERMODE_UP;
  htim2.Init.Period = 16000-1;
  htim2.Init.ClockDivision = TIM_CLOCKDIVISION_DIV1;
  htim2.Init.AutoReloadPreload = TIM_AUTORELOAD_PRELOAD_ENABLE;
  if (HAL_TIM_Base_Init(&htim2) != HAL_OK)
  {
    Error_Handler();
  }
  sClockSourceConfig.ClockSource = TIM_CLOCKSOURCE_INTERNAL;
  if (HAL_TIM_ConfigClockSource(&htim2, &sClockSourceConfig) != HAL_OK)
  {
    Error_Handler();
  }
  if (HAL_TIM_PWM_Init(&htim2) != HAL_OK)
  {
    Error_Handler();
  }
  sMasterConfig.MasterOutputTrigger = TIM_TRGO_RESET;
  sMasterConfig.MasterSlaveMode = TIM_MASTERSLAVEMODE_DISABLE;
  if (HAL_TIMEx_MasterConfigSynchronization(&htim2, &sMasterConfig) != HAL_OK)
  {
    Error_Handler();
  }
  sConfigOC.OCMode = TIM_OCMODE_PWM1;
  sConfigOC.Pulse = 0;
  sConfigOC.OCPolarity = TIM_OCPOLARITY_HIGH;
  sConfigOC.OCFastMode = TIM_OCFAST_DISABLE;
  if (HAL_TIM_PWM_ConfigChannel(&htim2, &sConfigOC, TIM_CHANNEL_1) != HAL_OK)
  {
    Error_Handler();
  }
  if (HAL_TIM_PWM_ConfigChannel(&htim2, &sConfigOC, TIM_CHANNEL_2) != HAL_OK)
  {
    Error_Handler();
  }
  HAL_TIM_MspPostInit(&htim2);

}

static void MX_TIM3_Init(void)
{

  TIM_ClockConfigTypeDef sClockSourceConfig = {0};
  TIM_MasterConfigTypeDef sMasterConfig = {0};
  TIM_OC_InitTypeDef sConfigOC = {0};

  htim3.Instance = TIM3;
  htim3.Init.Prescaler = 9-1;
  htim3.Init.CounterMode = TIM_COUNTERMODE_UP;
  htim3.Init.Period = 16000-1;
  htim3.Init.ClockDivision = TIM_CLOCKDIVISION_DIV1;
  htim3.Init.AutoReloadPreload = TIM_AUTORELOAD_PRELOAD_ENABLE;
  if (HAL_TIM_Base_Init(&htim3) != HAL_OK)
  {
    Error_Handler();
  }
  sClockSourceConfig.ClockSource = TIM_CLOCKSOURCE_INTERNAL;
  if (HAL_TIM_ConfigClockSource(&htim3, &sClockSourceConfig) != HAL_OK)
  {
    Error_Handler();
  }
  if (HAL_TIM_PWM_Init(&htim3) != HAL_OK)
  {
    Error_Handler();
  }
  sMasterConfig.MasterOutputTrigger = TIM_TRGO_RESET;
  sMasterConfig.MasterSlaveMode = TIM_MASTERSLAVEMODE_DISABLE;
  if (HAL_TIMEx_MasterConfigSynchronization(&htim3, &sMasterConfig) != HAL_OK)
  {
    Error_Handler();
  }
  sConfigOC.OCMode = TIM_OCMODE_PWM1;
  sConfigOC.Pulse = 0;
  sConfigOC.OCPolarity = TIM_OCPOLARITY_HIGH;
  sConfigOC.OCFastMode = TIM_OCFAST_DISABLE;
  if (HAL_TIM_PWM_ConfigChannel(&htim3, &sConfigOC, TIM_CHANNEL_1) != HAL_OK)
  {
    Error_Handler();
  }
  if (HAL_TIM_PWM_ConfigChannel(&htim3, &sConfigOC, TIM_CHANNEL_2) != HAL_OK)
  {
    Error_Handler();
  }
  HAL_TIM_MspPostInit(&htim3);

}

static void MX_USART1_UART_Init(void)
{

  huart1.Instance = USART1;
  huart1.Init.BaudRate = 115200;
  huart1.Init.WordLength = UART_WORDLENGTH_8B;
  huart1.Init.StopBits = UART_STOPBITS_1;
  huart1.Init.Parity = UART_PARITY_NONE;
  huart1.Init.Mode = UART_MODE_TX_RX;
  huart1.Init.HwFlowCtl = UART_HWCONTROL_NONE;
  huart1.Init.OverSampling = UART_OVERSAMPLING_16;
  if (HAL_UART_Init(&huart1) != HAL_OK)
  {
    Error_Handler();
  }

}

static void MX_USART2_UART_Init(void)
{

  huart2.Instance = USART2;
  huart2.Init.BaudRate = 115200;
  huart2.Init.WordLength = UART_WORDLENGTH_8B;
  huart2.Init.StopBits = UART_STOPBITS_1;
  huart2.Init.Parity = UART_PARITY_NONE;
  huart2.Init.Mode = UART_MODE_TX_RX;
  huart2.Init.HwFlowCtl = UART_HWCONTROL_NONE;
  huart2.Init.OverSampling = UART_OVERSAMPLING_16;
  if (HAL_UART_Init(&huart2) != HAL_OK)
  {
    Error_Handler();
  }

}

static void MX_DMA_Init(void)
{

  /* DMA controller clock enable */
  __HAL_RCC_DMA1_CLK_ENABLE();
  __HAL_RCC_DMA2_CLK_ENABLE();

  /* DMA interrupt init */
  /* DMA1_Stream5_IRQn interrupt configuration */
  HAL_NVIC_SetPriority(DMA1_Stream5_IRQn, 0, 0);
  HAL_NVIC_EnableIRQ(DMA1_Stream5_IRQn);
  /* DMA1_Stream6_IRQn interrupt configuration */
  HAL_NVIC_SetPriority(DMA1_Stream6_IRQn, 0, 0);
  HAL_NVIC_EnableIRQ(DMA1_Stream6_IRQn);
  /* DMA2_Stream7_IRQn interrupt configuration */
  HAL_NVIC_SetPriority(DMA2_Stream7_IRQn, 0, 0);
  HAL_NVIC_EnableIRQ(DMA2_Stream7_IRQn);

}

static void MX_GPIO_Init(void)
{
  GPIO_InitTypeDef GPIO_InitStruct = {0};

  /* GPIO Ports Clock Enable */
  __HAL_RCC_GPIOH_CLK_ENABLE();
  __HAL_RCC_GPIOC_CLK_ENABLE();
  __HAL_RCC_GPIOA_CLK_ENABLE();
  __HAL_RCC_GPIOB_CLK_ENABLE();

  /*Configure GPIO pin Output Level */
  HAL_GPIO_WritePin(GPIOC, CEpin_Pin|CSNpin_Pin, GPIO_PIN_RESET);

  /*Configure GPIO pins : CEpin_Pin CSNpin_Pin */
  GPIO_InitStruct.Pin = CEpin_Pin|CSNpin_Pin;
  GPIO_InitStruct.Mode = GPIO_MODE_OUTPUT_PP;
  GPIO_InitStruct.Pull = GPIO_NOPULL;
  GPIO_InitStruct.Speed = GPIO_SPEED_FREQ_LOW;
  HAL_GPIO_Init(GPIOC, &GPIO_InitStruct);

}

/* USER CODE BEGIN 4 */
//void HAL_UART_TxHalfCpltCallback(UART_HandleTypeDef *huart)
//{
//    HAL_UART_Transmit_DMA(huart,uart2_tx_data2 ,120);
//}
// void HAL_UART_TxCpltCallback(UART_HandleTypeDef *huart)
//{
//    HAL_UART_Transmit_DMA(huart,uart2_tx_data2 ,sizeof(uart2_tx_data2));
//    //HAL_UART_Transmit_DMA(huart,uart2_tx_data2 ,110);
//    //HAL_UART_Transmit_DMA(huart,uart1_tx_to_MFC ,19);
//    //memset(uart2_tx_data2,'\0',sizeof(uart2_tx_data2));
//}
/* USER CODE END 4 */

void Error_Handler(void)
{
}

/************************ (C) COPYRIGHT STMicroelectronics *****END OF FILE****/
